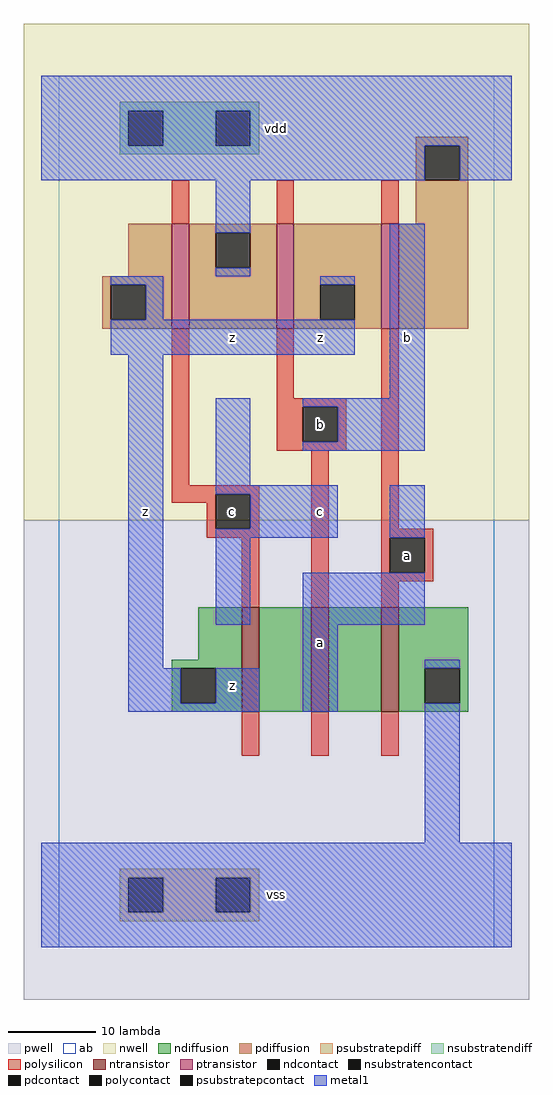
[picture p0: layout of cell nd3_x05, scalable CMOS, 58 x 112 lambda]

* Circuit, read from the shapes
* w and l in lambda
.subckt nd3_x05 a b c vdd vss z
M1 n1 c z vss nfet w=12 l=2
M2 n2 b n1 vss nfet w=12 l=2
M3 vss a n2 vss nfet w=12 l=2
M4 vdd c z vdd pfet w=12 l=2
M5 z b vdd vdd pfet w=12 l=2
M6 vdd a z vdd pfet w=12 l=2
.ends

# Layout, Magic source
magic
tech scmos
<< ab >>
rect 0 0 50 100
<< pwell >>
rect -4 -6 54 49
<< nwell >>
rect -4 49 54 106
<< polysilicon >>
rect 13 83 15 88
rect 25 83 27 88
rect 37 83 39 88
rect 13 53 15 71
rect 25 63 27 71
rect 25 62 33 63
rect 25 58 28 62
rect 32 58 33 62
rect 25 57 33 58
rect 13 52 23 53
rect 13 51 18 52
rect 17 48 18 51
rect 22 48 23 52
rect 17 47 23 48
rect 21 39 23 47
rect 29 39 31 57
rect 37 48 39 71
rect 37 47 43 48
rect 37 43 38 47
rect 42 43 43 47
rect 37 42 43 43
rect 37 39 39 42
rect 21 22 23 27
rect 29 22 31 27
rect 37 22 39 27
<< ndiffusion >>
rect 16 33 21 39
rect 13 32 21 33
rect 13 28 14 32
rect 18 28 21 32
rect 13 27 21 28
rect 23 27 29 39
rect 31 27 37 39
rect 39 32 47 39
rect 39 28 42 32
rect 46 28 47 32
rect 39 27 47 28
<< pdiffusion >>
rect 41 92 47 93
rect 41 88 42 92
rect 46 88 47 92
rect 41 83 47 88
rect 8 77 13 83
rect 5 76 13 77
rect 5 72 6 76
rect 10 72 13 76
rect 5 71 13 72
rect 15 82 25 83
rect 15 78 18 82
rect 22 78 25 82
rect 15 71 25 78
rect 27 76 37 83
rect 27 72 30 76
rect 34 72 37 76
rect 27 71 37 72
rect 39 71 47 83
<< metal1 >>
rect -2 92 52 100
rect -2 88 42 92
rect 46 88 52 92
rect 18 82 22 88
rect 18 77 22 78
rect 6 76 12 77
rect 10 72 12 76
rect 30 76 34 77
rect 6 68 34 72
rect 8 32 12 68
rect 38 63 42 83
rect 18 53 22 63
rect 28 62 42 63
rect 32 58 42 62
rect 28 57 42 58
rect 18 52 32 53
rect 22 48 32 52
rect 18 47 32 48
rect 38 47 42 53
rect 18 37 22 47
rect 28 37 42 43
rect 8 28 14 32
rect 18 28 23 32
rect 8 27 23 28
rect 28 27 32 37
rect 42 32 46 33
rect 42 12 46 28
rect -2 0 52 12
<< ntransistor >>
rect 21 27 23 39
rect 29 27 31 39
rect 37 27 39 39
<< ptransistor >>
rect 13 71 15 83
rect 25 71 27 83
rect 37 71 39 83
<< polycontact >>
rect 28 58 32 62
rect 18 48 22 52
rect 38 43 42 47
<< ndcontact >>
rect 14 28 18 32
rect 42 28 46 32
<< pdcontact >>
rect 42 88 46 92
rect 6 72 10 76
rect 18 78 22 82
rect 30 72 34 76
<< psubstratepcontact >>
rect 8 4 12 8
rect 18 4 22 8
<< nsubstratencontact >>
rect 8 92 12 96
rect 18 92 22 96
<< psubstratepdiff >>
rect 7 8 23 9
rect 7 4 8 8
rect 12 4 18 8
rect 22 4 23 8
rect 7 3 23 4
<< nsubstratendiff >>
rect 7 96 23 97
rect 7 92 8 96
rect 12 92 18 96
rect 22 92 23 96
rect 7 91 23 92
<< labels >>
rlabel metal1 10 50 10 50 6 z
rlabel metal1 10 50 10 50 6 z
rlabel metal1 25 6 25 6 6 vss
rlabel metal1 25 6 25 6 6 vss
rlabel metal1 20 30 20 30 6 z
rlabel metal1 20 30 20 30 6 z
rlabel polycontact 20 50 20 50 6 c
rlabel polycontact 20 50 20 50 6 c
rlabel metal1 20 70 20 70 6 z
rlabel metal1 20 70 20 70 6 z
rlabel metal1 25 94 25 94 6 vdd
rlabel metal1 25 94 25 94 6 vdd
rlabel metal1 30 35 30 35 6 a
rlabel metal1 30 35 30 35 6 a
rlabel metal1 30 50 30 50 6 c
rlabel metal1 30 50 30 50 6 c
rlabel polycontact 30 60 30 60 6 b
rlabel polycontact 30 60 30 60 6 b
rlabel metal1 30 70 30 70 6 z
rlabel metal1 30 70 30 70 6 z
rlabel polycontact 40 45 40 45 6 a
rlabel polycontact 40 45 40 45 6 a
rlabel metal1 40 70 40 70 6 b
rlabel metal1 40 70 40 70 6 b
<< end >>
